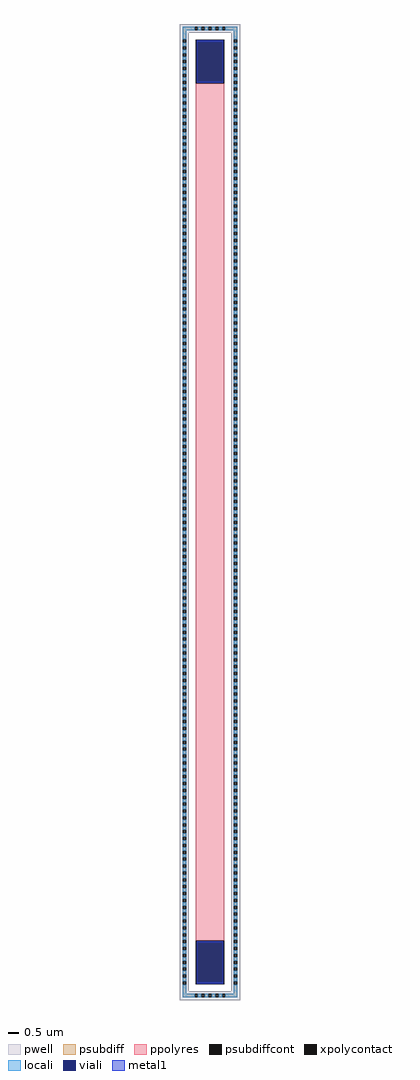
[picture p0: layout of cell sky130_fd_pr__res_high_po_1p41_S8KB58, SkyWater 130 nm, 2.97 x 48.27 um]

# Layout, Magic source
magic
tech sky130A
magscale 1 2
<< pwell >>
rect -297 4741 297 4827
rect -297 -4741 -211 4741
rect 211 -4741 297 4741
rect -297 -4827 297 -4741
<< psubdiff >>
rect -271 4767 -153 4801
rect -119 4767 -85 4801
rect -51 4767 -17 4801
rect 17 4767 51 4801
rect 85 4767 119 4801
rect 153 4767 271 4801
rect -271 4675 -237 4767
rect 237 4675 271 4767
rect -271 4607 -237 4641
rect -271 4539 -237 4573
rect -271 4471 -237 4505
rect -271 4403 -237 4437
rect -271 4335 -237 4369
rect -271 4267 -237 4301
rect -271 4199 -237 4233
rect -271 4131 -237 4165
rect -271 4063 -237 4097
rect -271 3995 -237 4029
rect -271 3927 -237 3961
rect -271 3859 -237 3893
rect -271 3791 -237 3825
rect -271 3723 -237 3757
rect -271 3655 -237 3689
rect -271 3587 -237 3621
rect -271 3519 -237 3553
rect -271 3451 -237 3485
rect -271 3383 -237 3417
rect -271 3315 -237 3349
rect -271 3247 -237 3281
rect -271 3179 -237 3213
rect -271 3111 -237 3145
rect -271 3043 -237 3077
rect -271 2975 -237 3009
rect -271 2907 -237 2941
rect -271 2839 -237 2873
rect -271 2771 -237 2805
rect -271 2703 -237 2737
rect -271 2635 -237 2669
rect -271 2567 -237 2601
rect -271 2499 -237 2533
rect -271 2431 -237 2465
rect -271 2363 -237 2397
rect -271 2295 -237 2329
rect -271 2227 -237 2261
rect -271 2159 -237 2193
rect -271 2091 -237 2125
rect -271 2023 -237 2057
rect -271 1955 -237 1989
rect -271 1887 -237 1921
rect -271 1819 -237 1853
rect -271 1751 -237 1785
rect -271 1683 -237 1717
rect -271 1615 -237 1649
rect -271 1547 -237 1581
rect -271 1479 -237 1513
rect -271 1411 -237 1445
rect -271 1343 -237 1377
rect -271 1275 -237 1309
rect -271 1207 -237 1241
rect -271 1139 -237 1173
rect -271 1071 -237 1105
rect -271 1003 -237 1037
rect -271 935 -237 969
rect -271 867 -237 901
rect -271 799 -237 833
rect -271 731 -237 765
rect -271 663 -237 697
rect -271 595 -237 629
rect -271 527 -237 561
rect -271 459 -237 493
rect -271 391 -237 425
rect -271 323 -237 357
rect -271 255 -237 289
rect -271 187 -237 221
rect -271 119 -237 153
rect -271 51 -237 85
rect -271 -17 -237 17
rect -271 -85 -237 -51
rect -271 -153 -237 -119
rect -271 -221 -237 -187
rect -271 -289 -237 -255
rect -271 -357 -237 -323
rect -271 -425 -237 -391
rect -271 -493 -237 -459
rect -271 -561 -237 -527
rect -271 -629 -237 -595
rect -271 -697 -237 -663
rect -271 -765 -237 -731
rect -271 -833 -237 -799
rect -271 -901 -237 -867
rect -271 -969 -237 -935
rect -271 -1037 -237 -1003
rect -271 -1105 -237 -1071
rect -271 -1173 -237 -1139
rect -271 -1241 -237 -1207
rect -271 -1309 -237 -1275
rect -271 -1377 -237 -1343
rect -271 -1445 -237 -1411
rect -271 -1513 -237 -1479
rect -271 -1581 -237 -1547
rect -271 -1649 -237 -1615
rect -271 -1717 -237 -1683
rect -271 -1785 -237 -1751
rect -271 -1853 -237 -1819
rect -271 -1921 -237 -1887
rect -271 -1989 -237 -1955
rect -271 -2057 -237 -2023
rect -271 -2125 -237 -2091
rect -271 -2193 -237 -2159
rect -271 -2261 -237 -2227
rect -271 -2329 -237 -2295
rect -271 -2397 -237 -2363
rect -271 -2465 -237 -2431
rect -271 -2533 -237 -2499
rect -271 -2601 -237 -2567
rect -271 -2669 -237 -2635
rect -271 -2737 -237 -2703
rect -271 -2805 -237 -2771
rect -271 -2873 -237 -2839
rect -271 -2941 -237 -2907
rect -271 -3009 -237 -2975
rect -271 -3077 -237 -3043
rect -271 -3145 -237 -3111
rect -271 -3213 -237 -3179
rect -271 -3281 -237 -3247
rect -271 -3349 -237 -3315
rect -271 -3417 -237 -3383
rect -271 -3485 -237 -3451
rect -271 -3553 -237 -3519
rect -271 -3621 -237 -3587
rect -271 -3689 -237 -3655
rect -271 -3757 -237 -3723
rect -271 -3825 -237 -3791
rect -271 -3893 -237 -3859
rect -271 -3961 -237 -3927
rect -271 -4029 -237 -3995
rect -271 -4097 -237 -4063
rect -271 -4165 -237 -4131
rect -271 -4233 -237 -4199
rect -271 -4301 -237 -4267
rect -271 -4369 -237 -4335
rect -271 -4437 -237 -4403
rect -271 -4505 -237 -4471
rect -271 -4573 -237 -4539
rect -271 -4641 -237 -4607
rect 237 4607 271 4641
rect 237 4539 271 4573
rect 237 4471 271 4505
rect 237 4403 271 4437
rect 237 4335 271 4369
rect 237 4267 271 4301
rect 237 4199 271 4233
rect 237 4131 271 4165
rect 237 4063 271 4097
rect 237 3995 271 4029
rect 237 3927 271 3961
rect 237 3859 271 3893
rect 237 3791 271 3825
rect 237 3723 271 3757
rect 237 3655 271 3689
rect 237 3587 271 3621
rect 237 3519 271 3553
rect 237 3451 271 3485
rect 237 3383 271 3417
rect 237 3315 271 3349
rect 237 3247 271 3281
rect 237 3179 271 3213
rect 237 3111 271 3145
rect 237 3043 271 3077
rect 237 2975 271 3009
rect 237 2907 271 2941
rect 237 2839 271 2873
rect 237 2771 271 2805
rect 237 2703 271 2737
rect 237 2635 271 2669
rect 237 2567 271 2601
rect 237 2499 271 2533
rect 237 2431 271 2465
rect 237 2363 271 2397
rect 237 2295 271 2329
rect 237 2227 271 2261
rect 237 2159 271 2193
rect 237 2091 271 2125
rect 237 2023 271 2057
rect 237 1955 271 1989
rect 237 1887 271 1921
rect 237 1819 271 1853
rect 237 1751 271 1785
rect 237 1683 271 1717
rect 237 1615 271 1649
rect 237 1547 271 1581
rect 237 1479 271 1513
rect 237 1411 271 1445
rect 237 1343 271 1377
rect 237 1275 271 1309
rect 237 1207 271 1241
rect 237 1139 271 1173
rect 237 1071 271 1105
rect 237 1003 271 1037
rect 237 935 271 969
rect 237 867 271 901
rect 237 799 271 833
rect 237 731 271 765
rect 237 663 271 697
rect 237 595 271 629
rect 237 527 271 561
rect 237 459 271 493
rect 237 391 271 425
rect 237 323 271 357
rect 237 255 271 289
rect 237 187 271 221
rect 237 119 271 153
rect 237 51 271 85
rect 237 -17 271 17
rect 237 -85 271 -51
rect 237 -153 271 -119
rect 237 -221 271 -187
rect 237 -289 271 -255
rect 237 -357 271 -323
rect 237 -425 271 -391
rect 237 -493 271 -459
rect 237 -561 271 -527
rect 237 -629 271 -595
rect 237 -697 271 -663
rect 237 -765 271 -731
rect 237 -833 271 -799
rect 237 -901 271 -867
rect 237 -969 271 -935
rect 237 -1037 271 -1003
rect 237 -1105 271 -1071
rect 237 -1173 271 -1139
rect 237 -1241 271 -1207
rect 237 -1309 271 -1275
rect 237 -1377 271 -1343
rect 237 -1445 271 -1411
rect 237 -1513 271 -1479
rect 237 -1581 271 -1547
rect 237 -1649 271 -1615
rect 237 -1717 271 -1683
rect 237 -1785 271 -1751
rect 237 -1853 271 -1819
rect 237 -1921 271 -1887
rect 237 -1989 271 -1955
rect 237 -2057 271 -2023
rect 237 -2125 271 -2091
rect 237 -2193 271 -2159
rect 237 -2261 271 -2227
rect 237 -2329 271 -2295
rect 237 -2397 271 -2363
rect 237 -2465 271 -2431
rect 237 -2533 271 -2499
rect 237 -2601 271 -2567
rect 237 -2669 271 -2635
rect 237 -2737 271 -2703
rect 237 -2805 271 -2771
rect 237 -2873 271 -2839
rect 237 -2941 271 -2907
rect 237 -3009 271 -2975
rect 237 -3077 271 -3043
rect 237 -3145 271 -3111
rect 237 -3213 271 -3179
rect 237 -3281 271 -3247
rect 237 -3349 271 -3315
rect 237 -3417 271 -3383
rect 237 -3485 271 -3451
rect 237 -3553 271 -3519
rect 237 -3621 271 -3587
rect 237 -3689 271 -3655
rect 237 -3757 271 -3723
rect 237 -3825 271 -3791
rect 237 -3893 271 -3859
rect 237 -3961 271 -3927
rect 237 -4029 271 -3995
rect 237 -4097 271 -4063
rect 237 -4165 271 -4131
rect 237 -4233 271 -4199
rect 237 -4301 271 -4267
rect 237 -4369 271 -4335
rect 237 -4437 271 -4403
rect 237 -4505 271 -4471
rect 237 -4573 271 -4539
rect 237 -4641 271 -4607
rect -271 -4767 -237 -4675
rect 237 -4767 271 -4675
rect -271 -4801 -153 -4767
rect -119 -4801 -85 -4767
rect -51 -4801 -17 -4767
rect 17 -4801 51 -4767
rect 85 -4801 119 -4767
rect 153 -4801 271 -4767
<< psubdiffcont >>
rect -153 4767 -119 4801
rect -85 4767 -51 4801
rect -17 4767 17 4801
rect 51 4767 85 4801
rect 119 4767 153 4801
rect -271 4641 -237 4675
rect -271 4573 -237 4607
rect -271 4505 -237 4539
rect -271 4437 -237 4471
rect -271 4369 -237 4403
rect -271 4301 -237 4335
rect -271 4233 -237 4267
rect -271 4165 -237 4199
rect -271 4097 -237 4131
rect -271 4029 -237 4063
rect -271 3961 -237 3995
rect -271 3893 -237 3927
rect -271 3825 -237 3859
rect -271 3757 -237 3791
rect -271 3689 -237 3723
rect -271 3621 -237 3655
rect -271 3553 -237 3587
rect -271 3485 -237 3519
rect -271 3417 -237 3451
rect -271 3349 -237 3383
rect -271 3281 -237 3315
rect -271 3213 -237 3247
rect -271 3145 -237 3179
rect -271 3077 -237 3111
rect -271 3009 -237 3043
rect -271 2941 -237 2975
rect -271 2873 -237 2907
rect -271 2805 -237 2839
rect -271 2737 -237 2771
rect -271 2669 -237 2703
rect -271 2601 -237 2635
rect -271 2533 -237 2567
rect -271 2465 -237 2499
rect -271 2397 -237 2431
rect -271 2329 -237 2363
rect -271 2261 -237 2295
rect -271 2193 -237 2227
rect -271 2125 -237 2159
rect -271 2057 -237 2091
rect -271 1989 -237 2023
rect -271 1921 -237 1955
rect -271 1853 -237 1887
rect -271 1785 -237 1819
rect -271 1717 -237 1751
rect -271 1649 -237 1683
rect -271 1581 -237 1615
rect -271 1513 -237 1547
rect -271 1445 -237 1479
rect -271 1377 -237 1411
rect -271 1309 -237 1343
rect -271 1241 -237 1275
rect -271 1173 -237 1207
rect -271 1105 -237 1139
rect -271 1037 -237 1071
rect -271 969 -237 1003
rect -271 901 -237 935
rect -271 833 -237 867
rect -271 765 -237 799
rect -271 697 -237 731
rect -271 629 -237 663
rect -271 561 -237 595
rect -271 493 -237 527
rect -271 425 -237 459
rect -271 357 -237 391
rect -271 289 -237 323
rect -271 221 -237 255
rect -271 153 -237 187
rect -271 85 -237 119
rect -271 17 -237 51
rect -271 -51 -237 -17
rect -271 -119 -237 -85
rect -271 -187 -237 -153
rect -271 -255 -237 -221
rect -271 -323 -237 -289
rect -271 -391 -237 -357
rect -271 -459 -237 -425
rect -271 -527 -237 -493
rect -271 -595 -237 -561
rect -271 -663 -237 -629
rect -271 -731 -237 -697
rect -271 -799 -237 -765
rect -271 -867 -237 -833
rect -271 -935 -237 -901
rect -271 -1003 -237 -969
rect -271 -1071 -237 -1037
rect -271 -1139 -237 -1105
rect -271 -1207 -237 -1173
rect -271 -1275 -237 -1241
rect -271 -1343 -237 -1309
rect -271 -1411 -237 -1377
rect -271 -1479 -237 -1445
rect -271 -1547 -237 -1513
rect -271 -1615 -237 -1581
rect -271 -1683 -237 -1649
rect -271 -1751 -237 -1717
rect -271 -1819 -237 -1785
rect -271 -1887 -237 -1853
rect -271 -1955 -237 -1921
rect -271 -2023 -237 -1989
rect -271 -2091 -237 -2057
rect -271 -2159 -237 -2125
rect -271 -2227 -237 -2193
rect -271 -2295 -237 -2261
rect -271 -2363 -237 -2329
rect -271 -2431 -237 -2397
rect -271 -2499 -237 -2465
rect -271 -2567 -237 -2533
rect -271 -2635 -237 -2601
rect -271 -2703 -237 -2669
rect -271 -2771 -237 -2737
rect -271 -2839 -237 -2805
rect -271 -2907 -237 -2873
rect -271 -2975 -237 -2941
rect -271 -3043 -237 -3009
rect -271 -3111 -237 -3077
rect -271 -3179 -237 -3145
rect -271 -3247 -237 -3213
rect -271 -3315 -237 -3281
rect -271 -3383 -237 -3349
rect -271 -3451 -237 -3417
rect -271 -3519 -237 -3485
rect -271 -3587 -237 -3553
rect -271 -3655 -237 -3621
rect -271 -3723 -237 -3689
rect -271 -3791 -237 -3757
rect -271 -3859 -237 -3825
rect -271 -3927 -237 -3893
rect -271 -3995 -237 -3961
rect -271 -4063 -237 -4029
rect -271 -4131 -237 -4097
rect -271 -4199 -237 -4165
rect -271 -4267 -237 -4233
rect -271 -4335 -237 -4301
rect -271 -4403 -237 -4369
rect -271 -4471 -237 -4437
rect -271 -4539 -237 -4505
rect -271 -4607 -237 -4573
rect -271 -4675 -237 -4641
rect 237 4641 271 4675
rect 237 4573 271 4607
rect 237 4505 271 4539
rect 237 4437 271 4471
rect 237 4369 271 4403
rect 237 4301 271 4335
rect 237 4233 271 4267
rect 237 4165 271 4199
rect 237 4097 271 4131
rect 237 4029 271 4063
rect 237 3961 271 3995
rect 237 3893 271 3927
rect 237 3825 271 3859
rect 237 3757 271 3791
rect 237 3689 271 3723
rect 237 3621 271 3655
rect 237 3553 271 3587
rect 237 3485 271 3519
rect 237 3417 271 3451
rect 237 3349 271 3383
rect 237 3281 271 3315
rect 237 3213 271 3247
rect 237 3145 271 3179
rect 237 3077 271 3111
rect 237 3009 271 3043
rect 237 2941 271 2975
rect 237 2873 271 2907
rect 237 2805 271 2839
rect 237 2737 271 2771
rect 237 2669 271 2703
rect 237 2601 271 2635
rect 237 2533 271 2567
rect 237 2465 271 2499
rect 237 2397 271 2431
rect 237 2329 271 2363
rect 237 2261 271 2295
rect 237 2193 271 2227
rect 237 2125 271 2159
rect 237 2057 271 2091
rect 237 1989 271 2023
rect 237 1921 271 1955
rect 237 1853 271 1887
rect 237 1785 271 1819
rect 237 1717 271 1751
rect 237 1649 271 1683
rect 237 1581 271 1615
rect 237 1513 271 1547
rect 237 1445 271 1479
rect 237 1377 271 1411
rect 237 1309 271 1343
rect 237 1241 271 1275
rect 237 1173 271 1207
rect 237 1105 271 1139
rect 237 1037 271 1071
rect 237 969 271 1003
rect 237 901 271 935
rect 237 833 271 867
rect 237 765 271 799
rect 237 697 271 731
rect 237 629 271 663
rect 237 561 271 595
rect 237 493 271 527
rect 237 425 271 459
rect 237 357 271 391
rect 237 289 271 323
rect 237 221 271 255
rect 237 153 271 187
rect 237 85 271 119
rect 237 17 271 51
rect 237 -51 271 -17
rect 237 -119 271 -85
rect 237 -187 271 -153
rect 237 -255 271 -221
rect 237 -323 271 -289
rect 237 -391 271 -357
rect 237 -459 271 -425
rect 237 -527 271 -493
rect 237 -595 271 -561
rect 237 -663 271 -629
rect 237 -731 271 -697
rect 237 -799 271 -765
rect 237 -867 271 -833
rect 237 -935 271 -901
rect 237 -1003 271 -969
rect 237 -1071 271 -1037
rect 237 -1139 271 -1105
rect 237 -1207 271 -1173
rect 237 -1275 271 -1241
rect 237 -1343 271 -1309
rect 237 -1411 271 -1377
rect 237 -1479 271 -1445
rect 237 -1547 271 -1513
rect 237 -1615 271 -1581
rect 237 -1683 271 -1649
rect 237 -1751 271 -1717
rect 237 -1819 271 -1785
rect 237 -1887 271 -1853
rect 237 -1955 271 -1921
rect 237 -2023 271 -1989
rect 237 -2091 271 -2057
rect 237 -2159 271 -2125
rect 237 -2227 271 -2193
rect 237 -2295 271 -2261
rect 237 -2363 271 -2329
rect 237 -2431 271 -2397
rect 237 -2499 271 -2465
rect 237 -2567 271 -2533
rect 237 -2635 271 -2601
rect 237 -2703 271 -2669
rect 237 -2771 271 -2737
rect 237 -2839 271 -2805
rect 237 -2907 271 -2873
rect 237 -2975 271 -2941
rect 237 -3043 271 -3009
rect 237 -3111 271 -3077
rect 237 -3179 271 -3145
rect 237 -3247 271 -3213
rect 237 -3315 271 -3281
rect 237 -3383 271 -3349
rect 237 -3451 271 -3417
rect 237 -3519 271 -3485
rect 237 -3587 271 -3553
rect 237 -3655 271 -3621
rect 237 -3723 271 -3689
rect 237 -3791 271 -3757
rect 237 -3859 271 -3825
rect 237 -3927 271 -3893
rect 237 -3995 271 -3961
rect 237 -4063 271 -4029
rect 237 -4131 271 -4097
rect 237 -4199 271 -4165
rect 237 -4267 271 -4233
rect 237 -4335 271 -4301
rect 237 -4403 271 -4369
rect 237 -4471 271 -4437
rect 237 -4539 271 -4505
rect 237 -4607 271 -4573
rect 237 -4675 271 -4641
rect -153 -4801 -119 -4767
rect -85 -4801 -51 -4767
rect -17 -4801 17 -4767
rect 51 -4801 85 -4767
rect 119 -4801 153 -4767
<< xpolycontact >>
rect -141 4239 141 4671
rect -141 -4671 141 -4239
<< ppolyres >>
rect -141 -4239 141 4239
<< locali >>
rect -271 4767 -153 4801
rect -119 4767 -85 4801
rect -51 4767 -17 4801
rect 17 4767 51 4801
rect 85 4767 119 4801
rect 153 4767 271 4801
rect -271 4675 -237 4767
rect 237 4675 271 4767
rect -271 4607 -237 4641
rect -271 4539 -237 4573
rect -271 4471 -237 4505
rect -271 4403 -237 4437
rect -271 4335 -237 4369
rect -271 4267 -237 4301
rect 237 4607 271 4641
rect 237 4539 271 4573
rect 237 4471 271 4505
rect 237 4403 271 4437
rect 237 4335 271 4369
rect 237 4267 271 4301
rect -271 4199 -237 4233
rect -271 4131 -237 4165
rect -271 4063 -237 4097
rect -271 3995 -237 4029
rect -271 3927 -237 3961
rect -271 3859 -237 3893
rect -271 3791 -237 3825
rect -271 3723 -237 3757
rect -271 3655 -237 3689
rect -271 3587 -237 3621
rect -271 3519 -237 3553
rect -271 3451 -237 3485
rect -271 3383 -237 3417
rect -271 3315 -237 3349
rect -271 3247 -237 3281
rect -271 3179 -237 3213
rect -271 3111 -237 3145
rect -271 3043 -237 3077
rect -271 2975 -237 3009
rect -271 2907 -237 2941
rect -271 2839 -237 2873
rect -271 2771 -237 2805
rect -271 2703 -237 2737
rect -271 2635 -237 2669
rect -271 2567 -237 2601
rect -271 2499 -237 2533
rect -271 2431 -237 2465
rect -271 2363 -237 2397
rect -271 2295 -237 2329
rect -271 2227 -237 2261
rect -271 2159 -237 2193
rect -271 2091 -237 2125
rect -271 2023 -237 2057
rect -271 1955 -237 1989
rect -271 1887 -237 1921
rect -271 1819 -237 1853
rect -271 1751 -237 1785
rect -271 1683 -237 1717
rect -271 1615 -237 1649
rect -271 1547 -237 1581
rect -271 1479 -237 1513
rect -271 1411 -237 1445
rect -271 1343 -237 1377
rect -271 1275 -237 1309
rect -271 1207 -237 1241
rect -271 1139 -237 1173
rect -271 1071 -237 1105
rect -271 1003 -237 1037
rect -271 935 -237 969
rect -271 867 -237 901
rect -271 799 -237 833
rect -271 731 -237 765
rect -271 663 -237 697
rect -271 595 -237 629
rect -271 527 -237 561
rect -271 459 -237 493
rect -271 391 -237 425
rect -271 323 -237 357
rect -271 255 -237 289
rect -271 187 -237 221
rect -271 119 -237 153
rect -271 51 -237 85
rect -271 -17 -237 17
rect -271 -85 -237 -51
rect -271 -153 -237 -119
rect -271 -221 -237 -187
rect -271 -289 -237 -255
rect -271 -357 -237 -323
rect -271 -425 -237 -391
rect -271 -493 -237 -459
rect -271 -561 -237 -527
rect -271 -629 -237 -595
rect -271 -697 -237 -663
rect -271 -765 -237 -731
rect -271 -833 -237 -799
rect -271 -901 -237 -867
rect -271 -969 -237 -935
rect -271 -1037 -237 -1003
rect -271 -1105 -237 -1071
rect -271 -1173 -237 -1139
rect -271 -1241 -237 -1207
rect -271 -1309 -237 -1275
rect -271 -1377 -237 -1343
rect -271 -1445 -237 -1411
rect -271 -1513 -237 -1479
rect -271 -1581 -237 -1547
rect -271 -1649 -237 -1615
rect -271 -1717 -237 -1683
rect -271 -1785 -237 -1751
rect -271 -1853 -237 -1819
rect -271 -1921 -237 -1887
rect -271 -1989 -237 -1955
rect -271 -2057 -237 -2023
rect -271 -2125 -237 -2091
rect -271 -2193 -237 -2159
rect -271 -2261 -237 -2227
rect -271 -2329 -237 -2295
rect -271 -2397 -237 -2363
rect -271 -2465 -237 -2431
rect -271 -2533 -237 -2499
rect -271 -2601 -237 -2567
rect -271 -2669 -237 -2635
rect -271 -2737 -237 -2703
rect -271 -2805 -237 -2771
rect -271 -2873 -237 -2839
rect -271 -2941 -237 -2907
rect -271 -3009 -237 -2975
rect -271 -3077 -237 -3043
rect -271 -3145 -237 -3111
rect -271 -3213 -237 -3179
rect -271 -3281 -237 -3247
rect -271 -3349 -237 -3315
rect -271 -3417 -237 -3383
rect -271 -3485 -237 -3451
rect -271 -3553 -237 -3519
rect -271 -3621 -237 -3587
rect -271 -3689 -237 -3655
rect -271 -3757 -237 -3723
rect -271 -3825 -237 -3791
rect -271 -3893 -237 -3859
rect -271 -3961 -237 -3927
rect -271 -4029 -237 -3995
rect -271 -4097 -237 -4063
rect -271 -4165 -237 -4131
rect -271 -4233 -237 -4199
rect 237 4199 271 4233
rect 237 4131 271 4165
rect 237 4063 271 4097
rect 237 3995 271 4029
rect 237 3927 271 3961
rect 237 3859 271 3893
rect 237 3791 271 3825
rect 237 3723 271 3757
rect 237 3655 271 3689
rect 237 3587 271 3621
rect 237 3519 271 3553
rect 237 3451 271 3485
rect 237 3383 271 3417
rect 237 3315 271 3349
rect 237 3247 271 3281
rect 237 3179 271 3213
rect 237 3111 271 3145
rect 237 3043 271 3077
rect 237 2975 271 3009
rect 237 2907 271 2941
rect 237 2839 271 2873
rect 237 2771 271 2805
rect 237 2703 271 2737
rect 237 2635 271 2669
rect 237 2567 271 2601
rect 237 2499 271 2533
rect 237 2431 271 2465
rect 237 2363 271 2397
rect 237 2295 271 2329
rect 237 2227 271 2261
rect 237 2159 271 2193
rect 237 2091 271 2125
rect 237 2023 271 2057
rect 237 1955 271 1989
rect 237 1887 271 1921
rect 237 1819 271 1853
rect 237 1751 271 1785
rect 237 1683 271 1717
rect 237 1615 271 1649
rect 237 1547 271 1581
rect 237 1479 271 1513
rect 237 1411 271 1445
rect 237 1343 271 1377
rect 237 1275 271 1309
rect 237 1207 271 1241
rect 237 1139 271 1173
rect 237 1071 271 1105
rect 237 1003 271 1037
rect 237 935 271 969
rect 237 867 271 901
rect 237 799 271 833
rect 237 731 271 765
rect 237 663 271 697
rect 237 595 271 629
rect 237 527 271 561
rect 237 459 271 493
rect 237 391 271 425
rect 237 323 271 357
rect 237 255 271 289
rect 237 187 271 221
rect 237 119 271 153
rect 237 51 271 85
rect 237 -17 271 17
rect 237 -85 271 -51
rect 237 -153 271 -119
rect 237 -221 271 -187
rect 237 -289 271 -255
rect 237 -357 271 -323
rect 237 -425 271 -391
rect 237 -493 271 -459
rect 237 -561 271 -527
rect 237 -629 271 -595
rect 237 -697 271 -663
rect 237 -765 271 -731
rect 237 -833 271 -799
rect 237 -901 271 -867
rect 237 -969 271 -935
rect 237 -1037 271 -1003
rect 237 -1105 271 -1071
rect 237 -1173 271 -1139
rect 237 -1241 271 -1207
rect 237 -1309 271 -1275
rect 237 -1377 271 -1343
rect 237 -1445 271 -1411
rect 237 -1513 271 -1479
rect 237 -1581 271 -1547
rect 237 -1649 271 -1615
rect 237 -1717 271 -1683
rect 237 -1785 271 -1751
rect 237 -1853 271 -1819
rect 237 -1921 271 -1887
rect 237 -1989 271 -1955
rect 237 -2057 271 -2023
rect 237 -2125 271 -2091
rect 237 -2193 271 -2159
rect 237 -2261 271 -2227
rect 237 -2329 271 -2295
rect 237 -2397 271 -2363
rect 237 -2465 271 -2431
rect 237 -2533 271 -2499
rect 237 -2601 271 -2567
rect 237 -2669 271 -2635
rect 237 -2737 271 -2703
rect 237 -2805 271 -2771
rect 237 -2873 271 -2839
rect 237 -2941 271 -2907
rect 237 -3009 271 -2975
rect 237 -3077 271 -3043
rect 237 -3145 271 -3111
rect 237 -3213 271 -3179
rect 237 -3281 271 -3247
rect 237 -3349 271 -3315
rect 237 -3417 271 -3383
rect 237 -3485 271 -3451
rect 237 -3553 271 -3519
rect 237 -3621 271 -3587
rect 237 -3689 271 -3655
rect 237 -3757 271 -3723
rect 237 -3825 271 -3791
rect 237 -3893 271 -3859
rect 237 -3961 271 -3927
rect 237 -4029 271 -3995
rect 237 -4097 271 -4063
rect 237 -4165 271 -4131
rect 237 -4233 271 -4199
rect -271 -4301 -237 -4267
rect -271 -4369 -237 -4335
rect -271 -4437 -237 -4403
rect -271 -4505 -237 -4471
rect -271 -4573 -237 -4539
rect -271 -4641 -237 -4607
rect 237 -4301 271 -4267
rect 237 -4369 271 -4335
rect 237 -4437 271 -4403
rect 237 -4505 271 -4471
rect 237 -4573 271 -4539
rect 237 -4641 271 -4607
rect -271 -4767 -237 -4675
rect 237 -4767 271 -4675
rect -271 -4801 -153 -4767
rect -119 -4801 -85 -4767
rect -51 -4801 -17 -4767
rect 17 -4801 51 -4767
rect 85 -4801 119 -4767
rect 153 -4801 271 -4767
<< viali >>
rect -125 4257 125 4651
rect -125 -4652 125 -4258
<< metal1 >>
rect -131 4651 131 4665
rect -131 4257 -125 4651
rect 125 4257 131 4651
rect -131 4244 131 4257
rect -131 -4258 131 -4244
rect -131 -4652 -125 -4258
rect 125 -4652 131 -4258
rect -131 -4665 131 -4652
<< properties >>
string FIXED_BBOX -254 -4784 254 4784
<< end >>
